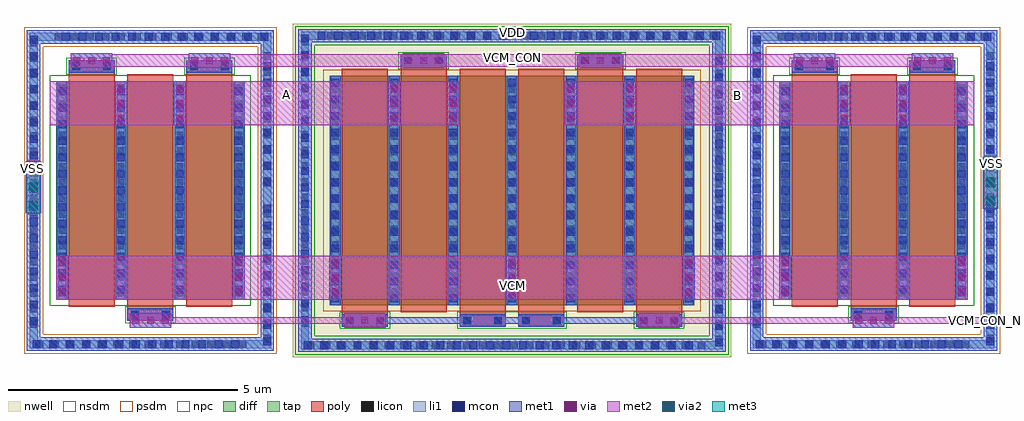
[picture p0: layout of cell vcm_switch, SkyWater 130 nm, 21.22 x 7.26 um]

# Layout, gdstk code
from math import pi, radians
import gdstk
lib = gdstk.Library(unit=1e-6, precision=1e-09)
def R(c, l, rs):  # rectangles x0, y0, x1, y1
    for r in rs: c.add(gdstk.rectangle(r[:2], r[2:], *l))
def A(c, l, x, y, w, h, nx, ny, dx, dy):  # array of equal rectangles
    R(c, l, [(x+i*dx, y+j*dy, x+i*dx+w, y+j*dy+h) for i in range(nx) for j in range(ny)])
nwell = (64, 20)
diff = (65, 20)
tap = (65, 44)
poly = (66, 20)
licon = (66, 44)
li1 = (67, 20)
mcon = (67, 44)
met1 = (68, 20)
via = (68, 44)
met2 = (69, 20)
via2 = (69, 44)
met3 = (70, 20)
nsdm = (93, 44)
psdm = (94, 20)
npc = (95, 20)

pfet_01v8_cdns_788522546 = lib.new_cell('pfet_01v8_CDNS_7885225464229')
R(pfet_01v8_cdns_788522546, nwell, [(-0.235,-0.18,1.235,5.18)])
R(pfet_01v8_cdns_788522546, diff, [(-0.055,0,0,5), (0,0,1,5), (1,0,1.055,5)])
R(pfet_01v8_cdns_788522546, poly, [(0,-0.15,1,0), (0,0,1,5), (0,5,1,5.19), (0,5.19,1,5.46)])
R(pfet_01v8_cdns_788522546, licon, [(0.08,5.24,0.25,5.41), (0.75,5.24,0.92,5.41)])
R(pfet_01v8_cdns_788522546, li1, [(0,5.21,1,5.44)])
R(pfet_01v8_cdns_788522546, mcon, [(0.08,5.24,0.25,5.41), (0.75,5.24,0.92,5.41)])
R(pfet_01v8_cdns_788522546, met1, [(0,5.19,1,5.46)])
R(pfet_01v8_cdns_788522546, psdm, [(-0.065,-0.13,1.065,5.13)])
R(pfet_01v8_cdns_788522546, npc, [(-0.05,5.14,1.05,5.51)])

nfet_01v8_cdns_788522546 = lib.new_cell('nfet_01v8_CDNS_7885225464230')
R(nfet_01v8_cdns_788522546, diff, [(-0.225,0,0,4.75), (0,0,1,4.75), (1,0,1.055,4.75)])
R(nfet_01v8_cdns_788522546, poly, [(0,-0.46,1,-0.19), (0,-0.19,1,0), (0,0,1,4.75), (0,4.75,1,4.9)])
A(nfet_01v8_cdns_788522546, licon, -0.225, 0.08, 0.17, 0.17, 1, 14, 0, 0.34)
R(nfet_01v8_cdns_788522546, licon, [(0.08,-0.41,0.25,-0.24), (0.75,-0.41,0.92,-0.24)])
R(nfet_01v8_cdns_788522546, li1, [(0,-0.44,1,-0.21), (-0.225,0,-0.055,4.75)])
A(nfet_01v8_cdns_788522546, mcon, -0.225, 0.13, 0.17, 0.17, 1, 13, 0, 0.36)
R(nfet_01v8_cdns_788522546, mcon, [(0.08,-0.41,0.25,-0.24), (0.75,-0.41,0.92,-0.24)])
R(nfet_01v8_cdns_788522546, met1, [(0,-0.46,1,-0.19), (-0.255,0,-0.025,4.75)])
R(nfet_01v8_cdns_788522546, nsdm, [(-0.235,-0.13,1.065,4.88)])
R(nfet_01v8_cdns_788522546, npc, [(-0.05,-0.51,1.05,-0.14)])

c_nfet_01v8_cdns_788522546 = lib.new_cell('nfet_01v8_CDNS_7885225464231')
R(c_nfet_01v8_cdns_788522546, diff, [(-0.265,0,0,4.75), (0,0,1,4.75), (1,0,1.225,4.75)])
R(c_nfet_01v8_cdns_788522546, poly, [(0,-0.15,1,0), (0,0,1,4.75), (0,4.75,1,4.94), (0,4.94,1,5.21)])
A(c_nfet_01v8_cdns_788522546, licon, -0.225, 0.08, 0.17, 0.17, 1, 14, 0, 0.34)
A(c_nfet_01v8_cdns_788522546, licon, 1.055, 0.08, 0.17, 0.17, 1, 14, 0, 0.34)
R(c_nfet_01v8_cdns_788522546, licon, [(0.08,4.99,0.25,5.16), (0.75,4.99,0.92,5.16)])
R(c_nfet_01v8_cdns_788522546, li1, [(-0.225,0,-0.055,4.75), (1.055,0,1.225,4.75), (0,4.96,1,5.19)])
A(c_nfet_01v8_cdns_788522546, mcon, -0.225, 0.13, 0.17, 0.17, 1, 13, 0, 0.36)
A(c_nfet_01v8_cdns_788522546, mcon, 1.055, 0.13, 0.17, 0.17, 1, 13, 0, 0.36)
R(c_nfet_01v8_cdns_788522546, mcon, [(0.08,4.99,0.25,5.16), (0.75,4.99,0.92,5.16)])
R(c_nfet_01v8_cdns_788522546, met1, [(-0.255,0,-0.025,4.75), (1.025,0,1.255,4.75), (0,4.94,1,5.21)])
R(c_nfet_01v8_cdns_788522546, nsdm, [(-0.405,-0.13,1.235,4.88)])
R(c_nfet_01v8_cdns_788522546, npc, [(-0.05,4.89,1.05,5.26)])

c_pfet_01v8_cdns_788522546 = lib.new_cell('pfet_01v8_CDNS_7885225464232')
R(c_pfet_01v8_cdns_788522546, nwell, [(-0.405,-0.18,1.235,5.18)])
R(c_pfet_01v8_cdns_788522546, diff, [(-0.225,0,0,5), (0,0,1,5), (1,0,1.055,5)])
R(c_pfet_01v8_cdns_788522546, poly, [(0,-0.15,1,0), (0,0,1,5), (0,5,1,5.19), (0,5.19,1,5.46)])
A(c_pfet_01v8_cdns_788522546, licon, -0.225, 0.205, 0.17, 0.17, 1, 14, 0, 0.34)
R(c_pfet_01v8_cdns_788522546, licon, [(0.08,5.24,0.25,5.41), (0.75,5.24,0.92,5.41)])
R(c_pfet_01v8_cdns_788522546, li1, [(-0.225,0,-0.055,5), (0,5.21,1,5.44)])
A(c_pfet_01v8_cdns_788522546, mcon, -0.225, 0.075, 0.17, 0.17, 1, 14, 0, 0.36)
R(c_pfet_01v8_cdns_788522546, mcon, [(0.08,5.24,0.25,5.41), (0.75,5.24,0.92,5.41)])
R(c_pfet_01v8_cdns_788522546, met1, [(-0.255,0,-0.025,5), (0,5.19,1,5.46)])
R(c_pfet_01v8_cdns_788522546, psdm, [(-0.235,-0.13,1.065,5.13)])
R(c_pfet_01v8_cdns_788522546, npc, [(-0.05,5.14,1.05,5.51)])

c_pfet_01v8_cdns_788522546_ = lib.new_cell('pfet_01v8_CDNS_7885225464233')
R(c_pfet_01v8_cdns_788522546_, nwell, [(-0.405,-0.18,1.445,5.18)])
R(c_pfet_01v8_cdns_788522546_, diff, [(-0.225,0,0,5), (0,0,1,5), (1,0,1.265,5)])
R(c_pfet_01v8_cdns_788522546_, poly, [(0,-0.46,1,-0.19), (0,-0.19,1,0), (0,0,1,5), (0,5,1,5.15)])
A(c_pfet_01v8_cdns_788522546_, licon, -0.225, 0.205, 0.17, 0.17, 1, 14, 0, 0.34)
A(c_pfet_01v8_cdns_788522546_, licon, 1.055, 0.205, 0.17, 0.17, 1, 14, 0, 0.34)
R(c_pfet_01v8_cdns_788522546_, licon, [(0.08,-0.41,0.25,-0.24), (0.75,-0.41,0.92,-0.24)])
R(c_pfet_01v8_cdns_788522546_, li1, [(0,-0.44,1,-0.21), (-0.225,0,-0.055,5), (1.055,0,1.225,5)])
A(c_pfet_01v8_cdns_788522546_, mcon, -0.225, 0.075, 0.17, 0.17, 1, 14, 0, 0.36)
A(c_pfet_01v8_cdns_788522546_, mcon, 1.055, 0.075, 0.17, 0.17, 1, 14, 0, 0.36)
R(c_pfet_01v8_cdns_788522546_, mcon, [(0.08,-0.41,0.25,-0.24), (0.75,-0.41,0.92,-0.24)])
R(c_pfet_01v8_cdns_788522546_, met1, [(0,-0.46,1,-0.19), (-0.255,0,-0.025,5), (1.025,0,1.255,5)])
R(c_pfet_01v8_cdns_788522546_, psdm, [(-0.235,-0.13,1.405,5.13)])
R(c_pfet_01v8_cdns_788522546_, npc, [(-0.05,-0.51,1.05,-0.14)])

c_pfet_01v8_cdns_788522546__ = lib.new_cell('pfet_01v8_CDNS_7885225464234')
R(c_pfet_01v8_cdns_788522546__, nwell, [(-0.235,-0.18,1.235,5.18)])
R(c_pfet_01v8_cdns_788522546__, diff, [(-0.055,0,0,5), (0,0,1,5), (1,0,1.055,5)])
R(c_pfet_01v8_cdns_788522546__, poly, [(0,-0.46,1,-0.19), (0,-0.19,1,0), (0,0,1,5), (0,5,1,5.15)])
R(c_pfet_01v8_cdns_788522546__, licon, [(0.08,-0.41,0.25,-0.24), (0.75,-0.41,0.92,-0.24)])
R(c_pfet_01v8_cdns_788522546__, li1, [(0,-0.44,1,-0.21)])
R(c_pfet_01v8_cdns_788522546__, mcon, [(0.08,-0.41,0.25,-0.24), (0.75,-0.41,0.92,-0.24)])
R(c_pfet_01v8_cdns_788522546__, met1, [(0,-0.46,1,-0.19)])
R(c_pfet_01v8_cdns_788522546__, psdm, [(-0.065,-0.13,1.065,5.13)])
R(c_pfet_01v8_cdns_788522546__, npc, [(-0.05,-0.51,1.05,-0.14)])

c_pfet_01v8_cdns_788522546___ = lib.new_cell('pfet_01v8_CDNS_7885225464235')
R(c_pfet_01v8_cdns_788522546___, nwell, [(-0.405,-0.18,1.405,5.18)])
R(c_pfet_01v8_cdns_788522546___, diff, [(-0.225,0,0,5), (0,0,1,5), (1,0,1.225,5)])
R(c_pfet_01v8_cdns_788522546___, poly, [(0,-0.46,1,-0.19), (0,-0.19,1,0), (0,0,1,5), (0,5,1,5.15)])
A(c_pfet_01v8_cdns_788522546___, licon, -0.225, 0.205, 0.17, 0.17, 1, 14, 0, 0.34)
A(c_pfet_01v8_cdns_788522546___, licon, 1.055, 0.205, 0.17, 0.17, 1, 14, 0, 0.34)
R(c_pfet_01v8_cdns_788522546___, licon, [(0.08,-0.41,0.25,-0.24), (0.75,-0.41,0.92,-0.24)])
R(c_pfet_01v8_cdns_788522546___, li1, [(0,-0.44,1,-0.21), (-0.225,0,-0.055,5), (1.055,0,1.225,5)])
A(c_pfet_01v8_cdns_788522546___, mcon, -0.225, 0.075, 0.17, 0.17, 1, 14, 0, 0.36)
A(c_pfet_01v8_cdns_788522546___, mcon, 1.055, 0.075, 0.17, 0.17, 1, 14, 0, 0.36)
R(c_pfet_01v8_cdns_788522546___, mcon, [(0.08,-0.41,0.25,-0.24), (0.75,-0.41,0.92,-0.24)])
R(c_pfet_01v8_cdns_788522546___, met1, [(0,-0.46,1,-0.19), (-0.255,0,-0.025,5), (1.025,0,1.255,5)])
R(c_pfet_01v8_cdns_788522546___, psdm, [(-0.235,-0.13,1.235,5.13)])
R(c_pfet_01v8_cdns_788522546___, npc, [(-0.05,-0.51,1.05,-0.14)])

c_pfet_01v8_cdns_788522546____ = lib.new_cell('pfet_01v8_CDNS_7885225464236')
R(c_pfet_01v8_cdns_788522546____, nwell, [(-0.405,-0.18,1.445,5.18)])
R(c_pfet_01v8_cdns_788522546____, diff, [(-0.225,0,0,5), (0,0,1,5), (1,0,1.265,5)])
R(c_pfet_01v8_cdns_788522546____, poly, [(0,-0.46,1,-0.19), (0,-0.19,1,0), (0,0,1,5), (0,5,1,5.15)])
A(c_pfet_01v8_cdns_788522546____, licon, -0.225, 0.205, 0.17, 0.17, 1, 14, 0, 0.34)
A(c_pfet_01v8_cdns_788522546____, licon, 1.055, 0.205, 0.17, 0.17, 1, 14, 0, 0.34)
R(c_pfet_01v8_cdns_788522546____, licon, [(0.08,-0.41,0.25,-0.24), (0.75,-0.41,0.92,-0.24)])
R(c_pfet_01v8_cdns_788522546____, li1, [(0,-0.44,1,-0.21), (-0.225,0,-0.055,5), (1.055,0,1.225,5)])
A(c_pfet_01v8_cdns_788522546____, mcon, -0.225, 0.075, 0.17, 0.17, 1, 14, 0, 0.36)
A(c_pfet_01v8_cdns_788522546____, mcon, 1.055, 0.075, 0.17, 0.17, 1, 14, 0, 0.36)
R(c_pfet_01v8_cdns_788522546____, mcon, [(0.08,-0.41,0.25,-0.24), (0.75,-0.41,0.92,-0.24)])
R(c_pfet_01v8_cdns_788522546____, met1, [(0,-0.46,1,-0.19), (-0.255,0,-0.025,5), (1.025,0,1.255,5)])
R(c_pfet_01v8_cdns_788522546____, psdm, [(-0.235,-0.13,1.405,5.13)])
R(c_pfet_01v8_cdns_788522546____, npc, [(-0.05,-0.51,1.05,-0.14)])

c_nfet_01v8_cdns_788522546_ = lib.new_cell('nfet_01v8_CDNS_7885225464237')
R(c_nfet_01v8_cdns_788522546_, diff, [(-0.055,0,0,4.75), (0,0,1,4.75), (1,0,1.055,4.75)])
R(c_nfet_01v8_cdns_788522546_, poly, [(0,-0.46,1,-0.19), (0,-0.19,1,0), (0,0,1,4.75), (0,4.75,1,4.9)])
R(c_nfet_01v8_cdns_788522546_, licon, [(0.08,-0.41,0.25,-0.24), (0.75,-0.41,0.92,-0.24)])
R(c_nfet_01v8_cdns_788522546_, li1, [(0,-0.44,1,-0.21)])
R(c_nfet_01v8_cdns_788522546_, mcon, [(0.08,-0.41,0.25,-0.24), (0.75,-0.41,0.92,-0.24)])
R(c_nfet_01v8_cdns_788522546_, met1, [(0,-0.46,1,-0.19)])
R(c_nfet_01v8_cdns_788522546_, nsdm, [(-0.065,-0.13,1.065,4.88)])
R(c_nfet_01v8_cdns_788522546_, npc, [(-0.05,-0.51,1.05,-0.14)])

c_nfet_01v8_cdns_788522546__ = lib.new_cell('nfet_01v8_CDNS_7885225464238')
R(c_nfet_01v8_cdns_788522546__, diff, [(-0.265,0,0,4.75), (0,0,1,4.75), (1,0,1.055,4.75)])
R(c_nfet_01v8_cdns_788522546__, poly, [(0,-0.15,1,0), (0,0,1,4.75), (0,4.75,1,4.94), (0,4.94,1,5.21)])
A(c_nfet_01v8_cdns_788522546__, licon, -0.225, 0.08, 0.17, 0.17, 1, 14, 0, 0.34)
R(c_nfet_01v8_cdns_788522546__, licon, [(0.08,4.99,0.25,5.16), (0.75,4.99,0.92,5.16)])
R(c_nfet_01v8_cdns_788522546__, li1, [(-0.225,0,-0.055,4.75), (0,4.96,1,5.19)])
A(c_nfet_01v8_cdns_788522546__, mcon, -0.225, 0.13, 0.17, 0.17, 1, 13, 0, 0.36)
R(c_nfet_01v8_cdns_788522546__, mcon, [(0.08,4.99,0.25,5.16), (0.75,4.99,0.92,5.16)])
R(c_nfet_01v8_cdns_788522546__, met1, [(-0.255,0,-0.025,4.75), (0,4.94,1,5.21)])
R(c_nfet_01v8_cdns_788522546__, nsdm, [(-0.405,-0.13,1.065,4.88)])
R(c_nfet_01v8_cdns_788522546__, npc, [(-0.05,4.89,1.05,5.26)])

c_nfet_01v8_cdns_788522546___ = lib.new_cell('nfet_01v8_CDNS_7885225464239')
R(c_nfet_01v8_cdns_788522546___, diff, [(-0.265,0,0,4.75), (0,0,1,4.75), (1,0,1.225,4.75)])
R(c_nfet_01v8_cdns_788522546___, poly, [(0,-0.15,1,0), (0,0,1,4.75), (0,4.75,1,4.94), (0,4.94,1,5.21)])
A(c_nfet_01v8_cdns_788522546___, licon, -0.225, 0.08, 0.17, 0.17, 1, 14, 0, 0.34)
A(c_nfet_01v8_cdns_788522546___, licon, 1.055, 0.08, 0.17, 0.17, 1, 14, 0, 0.34)
R(c_nfet_01v8_cdns_788522546___, licon, [(0.08,4.99,0.25,5.16), (0.75,4.99,0.92,5.16)])
R(c_nfet_01v8_cdns_788522546___, li1, [(-0.225,0,-0.055,4.75), (1.055,0,1.225,4.75), (0,4.96,1,5.19)])
A(c_nfet_01v8_cdns_788522546___, mcon, -0.225, 0.13, 0.17, 0.17, 1, 13, 0, 0.36)
A(c_nfet_01v8_cdns_788522546___, mcon, 1.055, 0.13, 0.17, 0.17, 1, 13, 0, 0.36)
R(c_nfet_01v8_cdns_788522546___, mcon, [(0.08,4.99,0.25,5.16), (0.75,4.99,0.92,5.16)])
R(c_nfet_01v8_cdns_788522546___, met1, [(-0.255,0,-0.025,4.75), (1.025,0,1.255,4.75), (0,4.94,1,5.21)])
R(c_nfet_01v8_cdns_788522546___, nsdm, [(-0.405,-0.13,1.235,4.88)])
R(c_nfet_01v8_cdns_788522546___, npc, [(-0.05,4.89,1.05,5.26)])

vcm_switch = lib.new_cell('vcm_switch')
R(vcm_switch, nwell, [(6.375,0.53,14.845,6.73), (6.465,0.95,14.755,6.31)])
A(vcm_switch, licon, 6.145, 0.18, 0.17, 0.17, 26, 1, 0.34, 0)
A(vcm_switch, licon, 0.245, 0.205, 0.17, 0.17, 14, 1, 0.34, 0)
A(vcm_switch, licon, 15.965, 0.205, 0.17, 0.17, 14, 1, 0.34, 0)
A(vcm_switch, licon, 15.025, 0.3, 0.17, 0.17, 1, 19, 0, 0.34)
A(vcm_switch, licon, 5.205, 0.325, 0.17, 0.17, 1, 9, 0, 0.34)
A(vcm_switch, licon, 20.925, 0.325, 0.17, 0.17, 1, 9, 0, 0.34)
A(vcm_switch, licon, 0.125, 0.645, 0.17, 0.17, 1, 19, 0, 0.34)
A(vcm_switch, licon, 15.845, 0.645, 0.17, 0.17, 1, 19, 0, 0.34)
A(vcm_switch, licon, 6.025, 0.67, 0.17, 0.17, 1, 19, 0, 0.34)
A(vcm_switch, licon, 5.205, 3.75, 0.17, 0.17, 1, 9, 0, 0.34)
A(vcm_switch, licon, 20.925, 3.75, 0.17, 0.17, 1, 9, 0, 0.34)
A(vcm_switch, licon, 0.665, 6.885, 0.17, 0.17, 14, 1, 0.34, 0)
A(vcm_switch, licon, 16.385, 6.885, 0.17, 0.17, 14, 1, 0.34, 0)
A(vcm_switch, licon, 6.58, 6.91, 0.17, 0.17, 12, 1, 0.34, 0)
A(vcm_switch, licon, 10.825, 6.91, 0.17, 0.17, 13, 1, 0.34, 0)
A(vcm_switch, mcon, 6.085, 0.18, 0.17, 0.17, 24, 1, 0.36, 0)
A(vcm_switch, mcon, 0.185, 0.205, 0.17, 0.17, 13, 1, 0.36, 0)
A(vcm_switch, mcon, 15.905, 0.205, 0.17, 0.17, 13, 1, 0.36, 0)
A(vcm_switch, mcon, 15.025, 0.24, 0.17, 0.17, 1, 18, 0, 0.36)
A(vcm_switch, mcon, 5.205, 0.265, 0.17, 0.17, 1, 9, 0, 0.36)
A(vcm_switch, mcon, 20.925, 0.265, 0.17, 0.17, 1, 9, 0, 0.36)
A(vcm_switch, mcon, 0.125, 0.705, 0.17, 0.17, 1, 18, 0, 0.36)
A(vcm_switch, mcon, 15.845, 0.705, 0.17, 0.17, 1, 18, 0, 0.36)
A(vcm_switch, mcon, 6.025, 0.73, 0.17, 0.17, 1, 18, 0, 0.36)
A(vcm_switch, mcon, 5.205, 3.725, 0.17, 0.17, 1, 8, 0, 0.36)
A(vcm_switch, mcon, 20.925, 3.725, 0.17, 0.17, 1, 8, 0, 0.36)
A(vcm_switch, mcon, 0.825, 6.885, 0.17, 0.17, 13, 1, 0.36, 0)
A(vcm_switch, mcon, 16.545, 6.885, 0.17, 0.17, 13, 1, 0.36, 0)
A(vcm_switch, mcon, 6.385, 6.91, 0.17, 0.17, 12, 1, 0.36, 0)
A(vcm_switch, mcon, 11.005, 6.91, 0.17, 0.17, 12, 1, 0.36, 0)
A(vcm_switch, met1, 6.64, 1.255, 0.26, 0.96, 3, 1, 3.84, 0)
R(vcm_switch, met1, [(2.3,0.645,3.2,0.965), (6.96,0.645,7.86,0.965), (13.36,0.645,14.26,0.965), (18.02,0.645,18.92,0.965), (0.7,1.255,0.96,2.215), (4.54,1.255,4.8,2.215), (16.42,1.255,16.68,2.215), (20.26,1.255,20.52,2.215), (0.075,3.2,0.335,4.2), (20.885,3.3,21.145,4.3), (1.98,5.045,2.24,6.005), (3.26,5.045,3.52,6.005), (7.92,5.045,8.18,6.005), (9.2,5.045,9.46,6.005), (11.76,5.045,12.02,6.005), (13.04,5.045,13.3,6.005), (17.7,5.045,17.96,6.005), (18.98,5.045,19.24,6.005), (1.02,6.295,1.92,6.615), (3.58,6.295,4.48,6.615), (8.24,6.295,9.14,6.615), (12.08,6.295,12.98,6.615), (16.74,6.295,17.64,6.615), (19.3,6.295,20.2,6.615), (10.54,7,10.68,7.14)])
A(vcm_switch, via, 2.355, 0.73, 0.15, 0.15, 3, 1, 0.32, 0)
A(vcm_switch, via, 7.015, 0.73, 0.15, 0.15, 3, 1, 0.32, 0)
A(vcm_switch, via, 13.415, 0.73, 0.15, 0.15, 3, 1, 0.32, 0)
A(vcm_switch, via, 18.075, 0.73, 0.15, 0.15, 3, 1, 0.32, 0)
A(vcm_switch, via, 0.755, 1.34, 0.15, 0.15, 1, 3, 0, 0.32)
A(vcm_switch, via, 4.595, 1.34, 0.15, 0.15, 1, 3, 0, 0.32)
A(vcm_switch, via, 6.695, 1.34, 0.15, 0.15, 3, 3, 3.84, 0.32)
A(vcm_switch, via, 16.475, 1.34, 0.15, 0.15, 1, 3, 0, 0.32)
A(vcm_switch, via, 20.315, 1.34, 0.15, 0.15, 1, 3, 0, 0.32)
A(vcm_switch, via, 0.13, 3.305, 0.15, 0.15, 1, 3, 0, 0.32)
A(vcm_switch, via, 20.94, 3.405, 0.15, 0.15, 1, 3, 0, 0.32)
A(vcm_switch, via, 2.035, 5.13, 0.15, 0.15, 1, 3, 0, 0.32)
A(vcm_switch, via, 3.315, 5.13, 0.15, 0.15, 1, 3, 0, 0.32)
A(vcm_switch, via, 7.975, 5.13, 0.15, 0.15, 1, 3, 0, 0.32)
A(vcm_switch, via, 9.255, 5.13, 0.15, 0.15, 1, 3, 0, 0.32)
A(vcm_switch, via, 11.815, 5.13, 0.15, 0.15, 1, 3, 0, 0.32)
A(vcm_switch, via, 13.095, 5.13, 0.15, 0.15, 1, 3, 0, 0.32)
A(vcm_switch, via, 17.755, 5.13, 0.15, 0.15, 1, 3, 0, 0.32)
A(vcm_switch, via, 19.035, 5.13, 0.15, 0.15, 1, 3, 0, 0.32)
A(vcm_switch, via, 1.075, 6.38, 0.15, 0.15, 3, 1, 0.32, 0)
A(vcm_switch, via, 3.635, 6.38, 0.15, 0.15, 3, 1, 0.32, 0)
A(vcm_switch, via, 8.295, 6.38, 0.15, 0.15, 3, 1, 0.32, 0)
A(vcm_switch, via, 12.135, 6.38, 0.15, 0.15, 3, 1, 0.32, 0)
A(vcm_switch, via, 16.795, 6.38, 0.15, 0.15, 3, 1, 0.32, 0)
A(vcm_switch, via, 19.355, 6.38, 0.15, 0.15, 3, 1, 0.32, 0)
A(vcm_switch, met2, 6.64, 1.255, 0.26, 0.96, 3, 1, 3.84, 0)
R(vcm_switch, met2, [(2.3,0.645,3.2,0.965), (6.96,0.645,7.86,0.965), (13.36,0.645,14.26,0.965), (18.02,0.645,18.92,0.965), (21.08,0.735,21.22,0.875), (0.7,1.255,0.96,2.215), (4.54,1.255,4.8,2.215), (10.32,1.255,10.92,1.855), (16.42,1.255,16.68,2.215), (20.26,1.255,20.52,2.215), (0.065,3.115,0.345,4.285), (0.065,3.115,0.345,4.285), (20.875,3.215,21.155,4.385), (20.875,3.215,21.155,4.385), (1.98,5.045,2.24,6.005), (3.26,5.045,3.52,6.005), (7.92,5.045,8.18,6.005), (9.2,5.045,9.46,6.005), (11.76,5.045,12.02,6.005), (13.04,5.045,13.3,6.005), (17.7,5.045,17.96,6.005), (18.98,5.045,19.24,6.005), (5.4,5.405,6,6.005), (15.22,5.405,15.82,6.005), (1.02,6.295,1.92,6.615), (3.58,6.295,4.48,6.615), (8.24,6.295,9.14,6.615), (12.08,6.295,12.98,6.615), (16.74,6.295,17.64,6.615), (19.3,6.295,20.2,6.615), (10.54,6.45,10.68,6.59)])
A(vcm_switch, via2, 0.105, 3.2, 0.2, 0.2, 1, 3, 0, 0.4)
A(vcm_switch, via2, 20.915, 3.3, 0.2, 0.2, 1, 3, 0, 0.4)
R(vcm_switch, met3, [(0.04,3.135,0.37,4.265), (20.85,3.235,21.18,4.365), (0.04,3.965,0.34,4.265), (20.88,4.065,21.18,4.365)])
R(vcm_switch, npc, [(10.52,0.62,10.7,0.99)])
vcm_switch.add(gdstk.FlexPath([(5.29,3.63),(5.29,6.97),(0.21,6.97),(0.21,0.29),(5.29,0.29),(5.29,3.63)], 0.17, ends="flush", simple_path=True, layer=67, datatype=20))  # li1
vcm_switch.add(gdstk.FlexPath([(21.01,3.63),(21.01,6.97),(15.93,6.97),(15.93,0.29),(21.01,0.29),(21.01,3.63)], 0.17, ends="flush", simple_path=True, layer=67, datatype=20))  # li1
vcm_switch.add(gdstk.FlexPath([(10.61,6.995),(6.11,6.995),(6.11,0.265),(15.11,0.265),(15.11,6.995),(10.61,6.995)], 0.17, ends="flush", simple_path=True, layer=67, datatype=20))  # li1
vcm_switch.add(gdstk.FlexPath([(5.29,3.63),(5.29,6.97),(0.21,6.97),(0.21,0.29),(5.29,0.29),(5.29,3.63)], 0.42, ends="flush", simple_path=True, layer=94, datatype=20))  # psdm
vcm_switch.add(gdstk.FlexPath([(21.01,3.63),(21.01,6.97),(15.93,6.97),(15.93,0.29),(21.01,0.29),(21.01,3.63)], 0.42, ends="flush", simple_path=True, layer=94, datatype=20))  # psdm
vcm_switch.add(gdstk.FlexPath([(10.61,6.995),(6.11,6.995),(6.11,0.265),(15.11,0.265),(15.11,6.995),(10.61,6.995)], 0.53, ends="flush", simple_path=True, layer=64, datatype=20))  # nwell
vcm_switch.add(gdstk.FlexPath([(10.61,6.995),(6.11,6.995),(6.11,0.265),(15.11,0.265),(15.11,6.995),(10.61,6.995)], 0.42, ends="flush", simple_path=True, layer=93, datatype=44))  # nsdm
vcm_switch.add(gdstk.FlexPath([(5.29,3.63),(5.29,6.97),(0.21,6.97),(0.21,0.29),(5.29,0.29),(5.29,3.63)], 0.29, ends="flush", simple_path=True, layer=68, datatype=20))  # met1
vcm_switch.add(gdstk.FlexPath([(13.38,0.67),(13.38,0.805)], 0.14, ends=(0, 0.07), simple_path=True, layer=68, datatype=20))  # met1
vcm_switch.add(gdstk.FlexPath([(13.38,0.805),(7.41,0.805)], 0.14, ends=(0.07, 0), simple_path=True, layer=68, datatype=20))  # met1
vcm_switch.add(gdstk.FlexPath([(21.01,3.63),(21.01,6.97),(15.93,6.97),(15.93,0.29),(21.01,0.29),(21.01,3.63)], 0.29, ends="flush", simple_path=True, layer=68, datatype=20))  # met1
vcm_switch.add(gdstk.FlexPath([(10.61,6.995),(6.11,6.995),(6.11,0.265),(15.11,0.265),(15.11,6.995),(10.61,6.995)], 0.29, ends="flush", simple_path=True, layer=68, datatype=20))  # met1
vcm_switch.add(gdstk.FlexPath([(21.01,3.63),(21.01,6.97),(15.93,6.97),(15.93,0.29),(21.01,0.29),(21.01,3.63)], 0.17, ends="flush", simple_path=True, layer=65, datatype=44))  # tap
vcm_switch.add(gdstk.FlexPath([(5.29,3.63),(5.29,6.97),(0.21,6.97),(0.21,0.29),(5.29,0.29),(5.29,3.63)], 0.17, ends="flush", simple_path=True, layer=65, datatype=44))  # tap
vcm_switch.add(gdstk.FlexPath([(10.61,6.995),(6.11,6.995),(6.11,0.265),(15.11,0.265),(15.11,6.995),(10.61,6.995)], 0.17, ends="flush", simple_path=True, layer=65, datatype=44))  # tap
vcm_switch.add(gdstk.FlexPath([(16.55,1.735),(20.39,1.735)], 0.96, ends="flush", simple_path=True, layer=69, datatype=20))  # met2
vcm_switch.add(gdstk.FlexPath([(14.45,1.735),(16.55,1.735)], 0.96, ends="flush", simple_path=True, layer=69, datatype=20))  # met2
vcm_switch.add(gdstk.FlexPath([(10.61,1.735),(14.45,1.735)], 0.96, ends="flush", simple_path=True, layer=69, datatype=20))  # met2
vcm_switch.add(gdstk.FlexPath([(6.77,1.735),(10.61,1.735)], 0.96, ends="flush", simple_path=True, layer=69, datatype=20))  # met2
vcm_switch.add(gdstk.FlexPath([(4.67,1.735),(6.77,1.735)], 0.96, ends="flush", simple_path=True, layer=69, datatype=20))  # met2
vcm_switch.add(gdstk.FlexPath([(0.83,1.735),(4.67,1.735)], 0.96, ends="flush", simple_path=True, layer=69, datatype=20))  # met2
vcm_switch.add(gdstk.FlexPath([(0.565,5.525),(9.47,5.525)], 0.96, ends="flush", simple_path=True, layer=69, datatype=20))  # met2
vcm_switch.add(gdstk.FlexPath([(20.655,5.525),(11.75,5.525)], 0.96, ends="flush", simple_path=True, layer=69, datatype=20))  # met2
vcm_switch.add(gdstk.FlexPath([(4.03,6.455),(1.47,6.455)], 0.27, ends="flush", simple_path=True, layer=69, datatype=20))  # met2
vcm_switch.add(gdstk.FlexPath([(8.69,6.455),(4.03,6.455)], 0.27, ends="flush", simple_path=True, layer=69, datatype=20))  # met2
vcm_switch.add(gdstk.FlexPath([(18.47,0.805),(13.81,0.805)], 0.14, ends="flush", simple_path=True, layer=69, datatype=20))  # met2
vcm_switch.add(gdstk.FlexPath([(18.47,0.805),(21.22,0.805)], 0.14, ends="flush", simple_path=True, layer=69, datatype=20))  # met2
vcm_switch.add(gdstk.FlexPath([(7.41,0.805),(2.75,0.805)], 0.14, ends="flush", simple_path=True, layer=69, datatype=20))  # met2
vcm_switch.add(gdstk.FlexPath([(17.19,6.455),(19.75,6.455)], 0.27, ends="flush", simple_path=True, layer=69, datatype=20))  # met2
vcm_switch.add(gdstk.FlexPath([(12.53,6.455),(8.69,6.455)], 0.27, ends="flush", simple_path=True, layer=69, datatype=20))  # met2
vcm_switch.add(gdstk.FlexPath([(17.19,6.455),(12.53,6.455)], 0.27, ends="flush", simple_path=True, layer=69, datatype=20))  # met2
vcm_switch.add(gdstk.Reference(pfet_01v8_cdns_788522546, (13.03,1.13), rotation=pi, x_reflection=True))
vcm_switch.add(gdstk.Reference(nfet_01v8_cdns_788522546, (3.25,1.255), rotation=pi, x_reflection=True))
vcm_switch.add(gdstk.Reference(c_nfet_01v8_cdns_788522546, (16.69,1.255)))
vcm_switch.add(gdstk.Reference(c_nfet_01v8_cdns_788522546, (0.97,1.255)))
vcm_switch.add(gdstk.Reference(c_pfet_01v8_cdns_788522546, (9.19,1.13), rotation=pi, x_reflection=True))
vcm_switch.add(gdstk.Reference(c_pfet_01v8_cdns_788522546_, (7.91,1.13), rotation=pi, x_reflection=True))
vcm_switch.add(gdstk.Reference(c_pfet_01v8_cdns_788522546__, (9.47,1.13)))
vcm_switch.add(gdstk.Reference(c_pfet_01v8_cdns_788522546___, (11.75,1.13), rotation=pi, x_reflection=True))
vcm_switch.add(gdstk.Reference(c_pfet_01v8_cdns_788522546____, (13.31,1.13)))
vcm_switch.add(gdstk.Reference(c_nfet_01v8_cdns_788522546_, (18.97,1.255), rotation=pi, x_reflection=True))
vcm_switch.add(gdstk.Reference(c_nfet_01v8_cdns_788522546__, (4.53,1.255), rotation=pi, x_reflection=True))
vcm_switch.add(gdstk.Reference(c_nfet_01v8_cdns_788522546___, (20.25,1.255), rotation=pi, x_reflection=True))
vcm_switch.add(gdstk.Label('VCM', (10.61,1.555), layer=69, texttype=5))
vcm_switch.add(gdstk.Label('VCM_CON', (10.61,6.52), layer=69, texttype=5))
vcm_switch.add(gdstk.Label('VCM_CON_N', (21.15,0.805), layer=69, texttype=5))
vcm_switch.add(gdstk.Label('B', (15.515,5.705), layer=69, texttype=5))
vcm_switch.add(gdstk.Label('A', (5.71,5.725), layer=69, texttype=5))
vcm_switch.add(gdstk.Label('VSS', (21.03,4.215), layer=70, texttype=5))
vcm_switch.add(gdstk.Label('VSS', (0.19,4.115), layer=70, texttype=5))
vcm_switch.add(gdstk.Label('VDD', (10.61,7.07), layer=68, texttype=5))

lib.write_gds('vcm_switch.gds')
